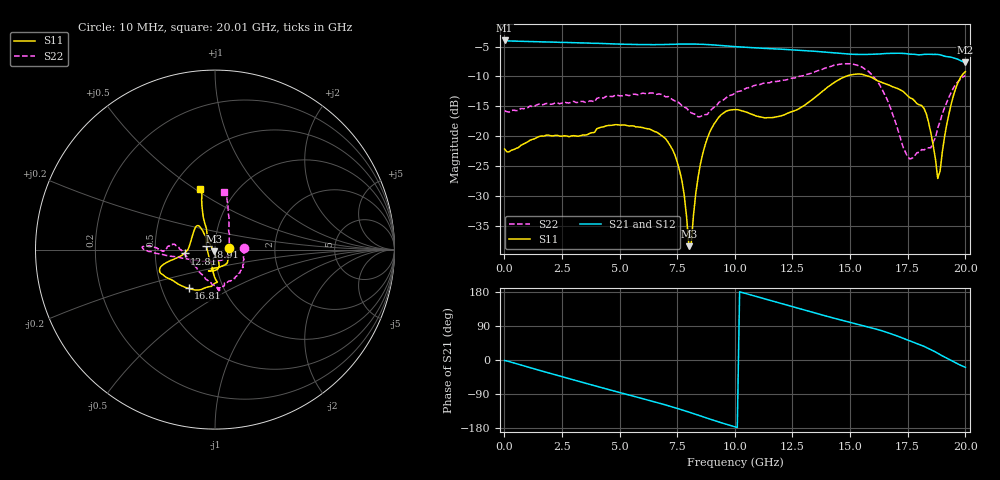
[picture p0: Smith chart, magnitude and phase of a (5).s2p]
! Hittite Microwave Corporation
! 2 Elizabeth Drive
! Chelmsford, MA 01824
! http://www.hittite.com
! Tel: 978-250-3343
! Fax: 978-250-3373
! Device:  HMC424LP3
! Description: 0.5 dB GaAs MMIC 6-Bit Digital Attenuator
! Frequency:  DC -  13.00 GHz
! Package:  LP3  - 3x3 mm Quad Flatpack No-Lead (QFN) Plastic Package: 16 pin
! Ports:  2 RF, 7 DC
!  Pad  1  = Ground
!  Pad  2  = RF IN  = Port 1
!  Pad  3  = Ground
!  Pad  4  = V6
!  Pad  5  = V5
!  Pad  6  = V4
!  Pad  7  = V3
!  Pad  8  = V2
!  Pad  9  = V1
!  Pad 10  = Ground
!  Pad 11  = RF OUT  = Port 2
!  Pad 12  = Ground
!  Pad 15  = VEE
! Control:  -5 Volt control voltage
! State:  3
! Attenuation:  1.5 dB
! Voltages:  Vdd = -5.00 Volts  Idd =  -2.438 mA
!  V1  = -5.00 Volts  I1  =  -1.0 uA
!  V2  = -5.00 Volts  I2  =  -1.0 uA
!  V3  = 0.00 Volts  I3  =  30.0 uA
!  V4  = 0.00 Volts  I4  =  30.0 uA
!  V5  = 0.00 Volts  I5  =  29.0 uA
!  V6  = 0.00 Volts  I6  =  30.0 uA
! Data:  The device was measured on evaluation board 105354-1.
!  Data was collected using a calibrated network analyzer.
!  The evaluation circuit board was modeled and simulated.  This was use
!  to removed the evaluation board circuit from the measured data.
!  The reference plane is the edge of the package pin.
! Misc:  Lot xxxx, Unit 1
!  Application 20120001, Data collected in Application 20090083
! Date Measured:  2009-09-15
! Date:  2012-05-14  MJV
! Note:
!  Hittite supplies this data as a sample of measured data at the package pin
!  for this product.  Your particular data for this product may vary.
!  Data was taken at 25 degrees C.
!  Hittite reserves the right to change this data at anytime.
# GHz S MA R 50
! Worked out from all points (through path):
!   201 points, 10 MHz to 20.01 GHz, reference 50 ohm
!   highest |S21| = -3.96 dB at 10 MHz (marker M1); lowest = -7.6 dB at 20.01 GHz (marker M2)
!   group delay of S21, straight-line fit = 49.9 ps
!   lowest |S11| = -38.5 dB at 8.01 GHz (marker M3), VSWR 1.02, Z = 49.4 - j1.02 ohm
!   |S11| at or under -10 dB: start of sweep to 14.81 GHz; 15.84 GHz to 19.83 GHz (3.992 GHz wide, 22.4 % of centre)
!   |S22| runs from -23.8 to -7.8 dB; largest |S21 - S12| = 0.0026
!   S11 on the Smith chart (normalised r, x): 10 MHz: 1.17, +0.01; 12.81 GHz: 0.71, -0.03; 16.81 GHz: 0.68, -0.32; 18.91 GHz: 0.91, +0.03; 20.01 GHz: 0.68, +0.53
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0.01  0.07801 4.6  0.6338 -1.3  0.6314 -1.3  0.1632 2.2
3.41  0.1023 -86.9  0.6045 -59.4  0.6036 -59.4  0.1957 -63.1
4.81  0.1247 -106.4  0.5928 -82.6  0.5919 -82.6  0.2205 -84.2
6.71  0.1049 -79.7  0.5857 -113.7  0.5848 -113.7  0.2264 -84.0
7.61  0.051 -75.7  0.59 -129.8  0.5892 -129.7  0.1875 -96.3
7.81  0.03157 -84.9  0.5914 -133.6  0.5907 -133.6  0.175 -104.4
8.01  0.01195 -119.9  0.591 -137.5  0.5902 -137.5  0.1623 -111.4
8.11  0.01258 -179.9  0.5916 -139.5  0.5908 -139.5  0.1567 -117.6
8.41  0.04539 131.2  0.5894 -145.5  0.5889 -145.5  0.1448 -134.0
8.81  0.09588 124.6  0.5854 -153.6  0.5846 -153.6  0.1521 -159.9
10.01  0.167 128.1  0.563 -176.5  0.5623 -176.5  0.2298 172.4
12.81  0.1708 -172.9  0.5239 135.8  0.5231 135.8  0.3174 179.1
13.41  0.2058 -168.6  0.5158 125.3  0.5146 125.4  0.3405 177.2
15.51  0.3304 -156.5  0.4835 91.7  0.4832 91.7  0.3802 -179.1
16.71  0.267 -127.7  0.4939 70.7  0.4934 70.7  0.1826 -164.4
16.81  0.261 -124.4  0.4942 68.6  0.4938 68.6  0.1614 -161.0
17.61  0.2092 -99.2  0.4863 50.3  0.4858 50.3  0.06436 -83.5
18.31  0.1547 -90.7  0.4857 33.2  0.4854 33.2  0.0789 -10.5
18.81  0.04415 -151.2  0.4836 17.7  0.4826 17.7  0.1169 46.4
18.91  0.05086 159.6  0.4811 14.2  0.4802 14.2  0.1327 55.3
19.41  0.1912 109.9  0.458 -1.4  0.4573 -1.4  0.2356 72.0
20.01  0.3475 103.6  0.4151 -19.3  0.4147 -19.2  0.3223 80.9
